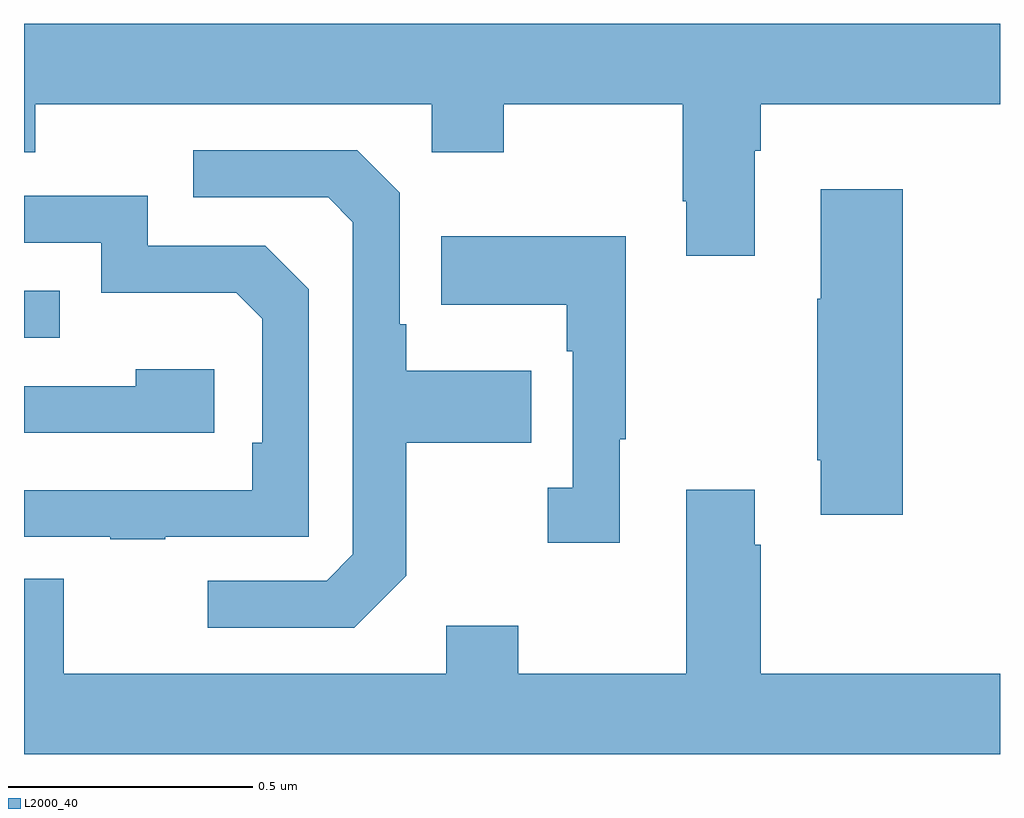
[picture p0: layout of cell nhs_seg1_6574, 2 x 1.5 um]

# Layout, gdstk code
import gdstk
lib = gdstk.Library(unit=1e-6, precision=1e-09)
def R(c, l, rs):  # rectangles x0, y0, x1, y1
    for r in rs: c.add(gdstk.rectangle(r[:2], r[2:], *l))
def P(c, l, *ps):  # polygons
    for p in ps: c.add(gdstk.Polygon(p, *l))
L2000_40 = (2000, 40)

nhs_seg1_6574 = lib.new_cell('nhs_seg1_6574')
R(nhs_seg1_6574, L2000_40, [(193,531.273,193.073,531.369)])
P(nhs_seg1_6574, L2000_40, [(194.497,531.656),(194.51,531.656),(194.51,531.752),(195,531.752),(195,531.916),(193,531.916),(193,531.653),(193.023,531.653),(193.023,531.752),(193.836,531.752),(193.836,531.653),(193.983,531.653),(193.983,531.752),(194.35,531.752),(194.35,531.553),(194.357,531.553),(194.357,531.441),(194.497,531.441)],
  [(193.783,530.785),(193.783,531.058),(194.039,531.058),(194.039,531.205),(193.783,531.205),(193.783,531.301),(193.77,531.301),(193.77,531.57),(193.683,531.657),(193.347,531.657),(193.347,531.561),(193.623,531.561),(193.674,531.51),(193.674,530.829),(193.62,530.775),(193.377,530.775),(193.377,530.679),(193.677,530.679)],
  [(194.801,531.577),(194.633,531.577),(194.633,531.353),(194.626,531.353),(194.626,531.022),(194.633,531.022),(194.633,530.91),(194.801,530.91)],
  [(193.289,530.865),(193.584,530.865),(193.584,531.372),(193.494,531.462),(193.254,531.462),(193.254,531.564),(193,531.564),(193,531.468),(193.158,531.468),(193.158,531.365),(193.435,531.365),(193.488,531.312),(193.488,531.058),(193.468,531.058),(193.468,530.961),(193,530.961),(193,530.865),(193.177,530.865),(193.177,530.86),(193.289,530.86)],
  [(194.221,531.065),(194.233,531.065),(194.233,531.481),(193.855,531.481),(193.855,531.341),(194.112,531.341),(194.112,531.245),(194.124,531.245),(194.124,530.966),(194.073,530.966),(194.073,530.853),(194.221,530.853)],
  [(193.39,531.208),(193.229,531.208),(193.229,531.174),(193,531.174),(193,531.078),(193.39,531.078)],
  [(195,530.584),(194.51,530.584),(194.51,530.849),(194.497,530.849),(194.497,530.962),(194.357,530.962),(194.357,530.584),(194.013,530.584),(194.013,530.683),(193.865,530.683),(193.865,530.584),(193.081,530.584),(193.081,530.779),(193,530.779),(193,530.42),(195,530.42)])

lib.write_gds('nhs_seg1_6574.gds')
